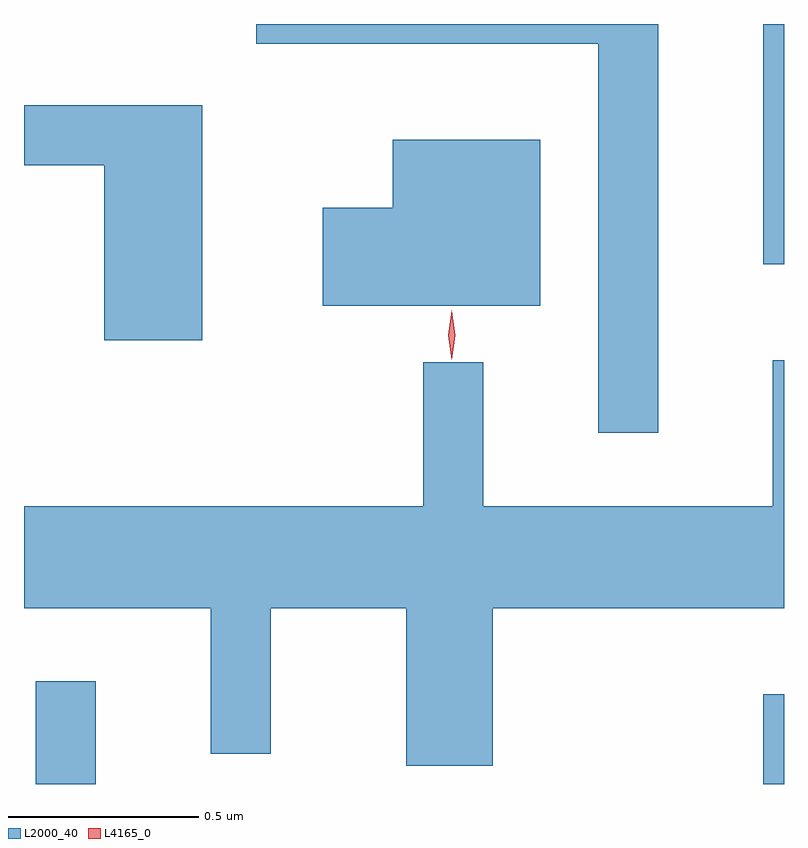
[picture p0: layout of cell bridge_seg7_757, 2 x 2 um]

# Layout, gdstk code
import gdstk
lib = gdstk.Library(unit=1e-6, precision=1e-09)
def R(c, l, rs):  # rectangles x0, y0, x1, y1
    for r in rs: c.add(gdstk.rectangle(r[:2], r[2:], *l))
def P(c, l, *ps):  # polygons
    for p in ps: c.add(gdstk.Polygon(p, *l))
L2000_40 = (2000, 40)
L4165_0 = (4165, 0)

bridge_seg7_757 = lib.new_cell('bridge_seg7_757')
R(bridge_seg7_757, L2000_40, [(600.626,1747.153,600.784,1747.423), (602.541,1747.153,602.595,1747.389), (602.541,1748.521,602.595,1749.153)])
P(bridge_seg7_757, L2000_40, [(602.264,1749.153),(601.206,1749.153),(601.206,1749.101),(602.106,1749.101),(602.106,1748.078),(602.264,1748.078)],
  [(601.064,1748.939),(600.595,1748.939),(600.595,1748.781),(600.806,1748.781),(600.806,1748.321),(601.064,1748.321)],
  [(601.954,1748.849),(601.566,1748.849),(601.566,1748.669),(601.381,1748.669),(601.381,1748.411),(601.954,1748.411)],
  [(601.829,1747.616),(602.595,1747.616),(602.595,1748.268),(602.566,1748.268),(602.566,1747.884),(601.804,1747.884),(601.804,1748.263),(601.646,1748.263),(601.646,1747.884),(600.595,1747.884),(600.595,1747.616),(601.086,1747.616),(601.086,1747.233),(601.244,1747.233),(601.244,1747.616),(601.601,1747.616),(601.601,1747.201),(601.829,1747.201)])
P(bridge_seg7_757, L4165_0, [(601.72,1748.269),(601.711,1748.334),(601.72,1748.399),(601.72,1748.4),(601.721,1748.399),(601.73,1748.334),(601.721,1748.269),(601.721,1748.269)])

lib.write_gds('bridge_seg7_757.gds')
